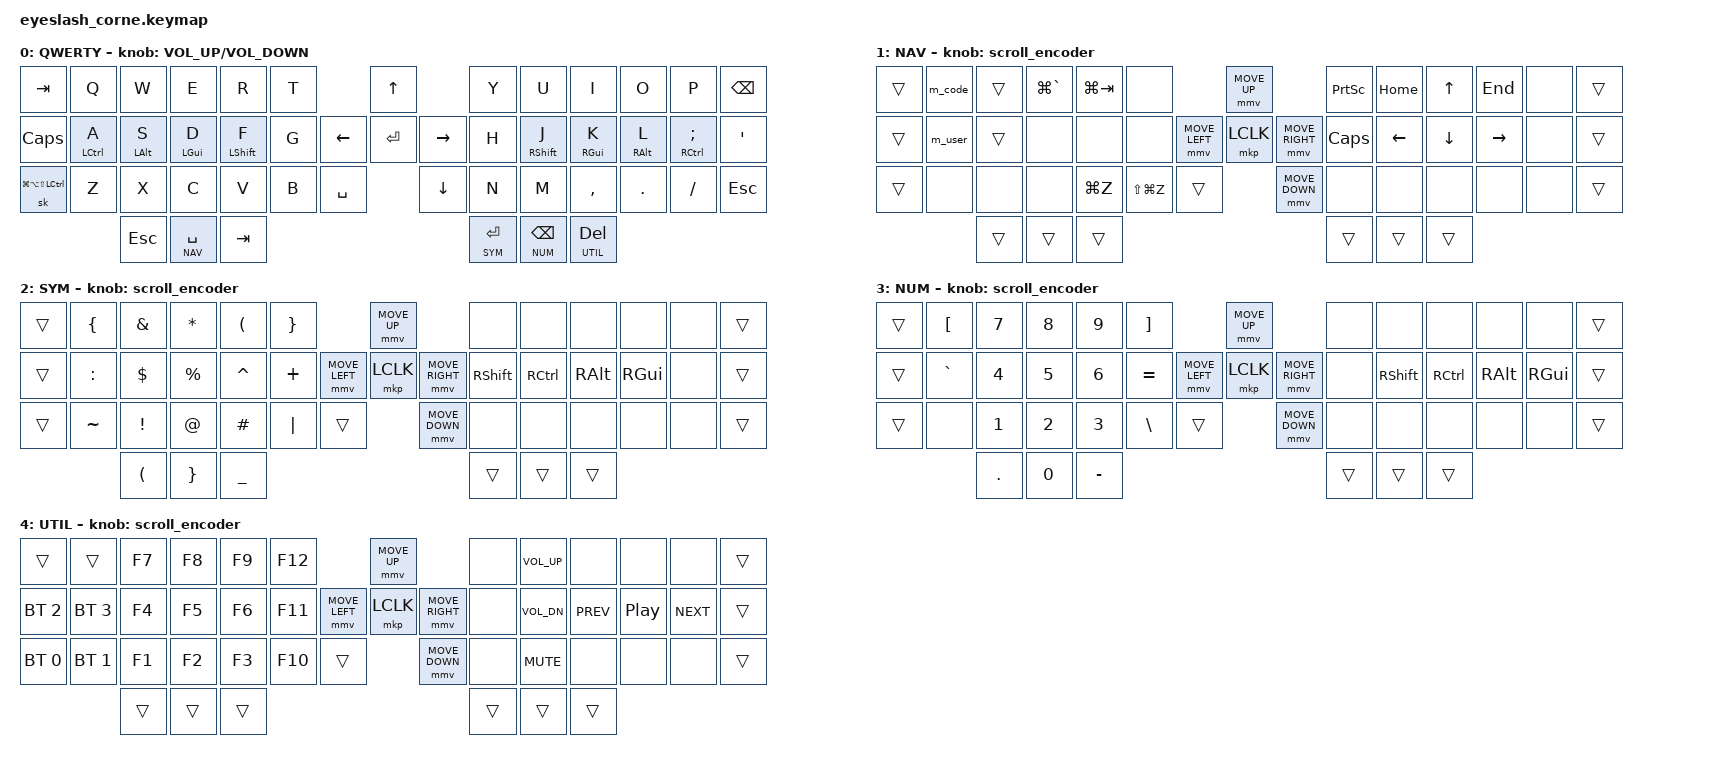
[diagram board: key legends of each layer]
#define ZMK_POINTING_DEFAULT_MOVE_VAL 1200  // 600
#define ZMK_POINTING_DEFAULT_SCRL_VAL 25   // 10

#include <input/processors.dtsi>
#include <zephyr/dt-bindings/input/input-event-codes.h>
#include <behaviors.dtsi>
#include <dt-bindings/zmk/bt.h>
#include <dt-bindings/zmk/ext_power.h>
#include <dt-bindings/zmk/keys.h>
#include <dt-bindings/zmk/pointing.h>
#include <dt-bindings/zmk/outputs.h>
#include <dt-bindings/zmk/rgb.h>

&mmv_input_listener { input-processors = <&zip_xy_scaler 2 1>; };
&msc_input_listener { input-processors = <&zip_scroll_scaler 2 1>; };

&msc {
    acceleration-exponent = <1>;      // 0
    time-to-max-speed-ms = <100>;       // 300
    delay-ms = <0>;                   // 0
};

&mmv {
    time-to-max-speed-ms = <500>;
    acceleration-exponent = <1>;
    trigger-period-ms = <16>;
};

// Layer Definitions
#define QWERTY 0
#define NAV    1
#define SYM    2
#define NUM    3
#define UTIL   4

/ {
    macros {
        m_user: m_user {
            compatible = "zmk,behavior-macro";
            #binding-cells = <0>;
            display-name = "User001";
            bindings = <&kp LS(U) &kp S &kp U &kp A &kp R &kp I &kp O &kp N0 &kp N0 &kp N1 &kp DOT>;
        };
        // Macro SS: Cmd+Shift+Ctrl+4
        m_ss: m_ss {
            compatible = "zmk,behavior-macro";
            #binding-cells = <0>;
            bindings = <&kp LG(LS(LC(N4)))>;
        };

        m_code: m_code {
            compatible = "zmk,behavior-macro";
            #binding-cells = <0>;
            display-name = "Code Block";
            bindings = <&kp GRAVE &kp GRAVE &kp GRAVE &kp LS(RET) &kp LS(RET) &kp GRAVE &kp GRAVE &kp GRAVE &kp UP>;
        };
    };

    behaviors {
        hm: homerow_mods {
            compatible = "zmk,behavior-hold-tap";
            label = "HOMEROW_MODS";
            #binding-cells = <2>;
            tapping-term-ms = <200>;
            quick-tap-ms = <0>;
            flavor = "tap-preferred";
            bindings = <&kp>, <&kp>;
        };
    };

    combos {
        compatible = "zmk,combos";

        // --- Left Hand Vertical ---
        // Top-Home
        combo_at     { timeout-ms = <50>; key-positions = <2 15>; bindings = <&kp AT>; };    // W S
        combo_hash   { timeout-ms = <50>; key-positions = <3 16>; bindings = <&kp HASH>; };  // E D
        combo_dollar { timeout-ms = <50>; key-positions = <4 17>; bindings = <&kp DLLR>; };  // R F
        combo_perc   { timeout-ms = <50>; key-positions = <5 18>; bindings = <&kp PRCNT>; }; // T G

        // Home-Bottom
        combo_grave  { timeout-ms = <50>; key-positions = <15 30>; bindings = <&kp GRAVE>; }; // S X
        combo_bsls   { timeout-ms = <50>; key-positions = <16 31>; bindings = <&kp BSLH>; };  // D C
        combo_eql    { timeout-ms = <50>; key-positions = <17 32>; bindings = <&kp EQUAL>; }; // F V
        combo_tilde  { timeout-ms = <50>; key-positions = <18 33>; bindings = <&kp TILDE>; }; // G B

        // Horizontal Left
        combo_esc    { timeout-ms = <50>; key-positions = <15 17>; bindings = <&kp ESC>; };        // S F
        combo_copy   { timeout-ms = <50>; key-positions = <30 31>; bindings = <&kp LG(C)>; };      // X C (Cmd+C)
        combo_paste  { timeout-ms = <50>; key-positions = <31 32>; bindings = <&kp LG(V)>; };      // C V (Cmd+V)
        combo_cut    { timeout-ms = <50>; key-positions = <30 32>; bindings = <&kp LG(X)>; };      // X V (Cmd+X)
        combo_zx     { timeout-ms = <50>; key-positions = <29 30>;    bindings = <&kp LG(Z)>; };      // Z X (Cmd+Z)
        combo_xcv    { timeout-ms = <50>; key-positions = <30 31 32>; bindings = <&kp LG(LA(V))>; }; // X C V (Opt+Cmd+V)

        // --- Right Hand Vertical ---
        // Top-Home
        combo_caret  { timeout-ms = <50>; key-positions = <7 22>; bindings = <&kp CARET>; };  // Y H
        combo_plus   { timeout-ms = <50>; key-positions = <8 23>; bindings = <&kp PLUS>; };   // U J
        combo_star   { timeout-ms = <50>; key-positions = <9 24>; bindings = <&kp ASTRK>; };  // I K
        combo_amp    { timeout-ms = <50>; key-positions = <10 25>; bindings = <&kp AMPS>; };  // O L

        // Home-Bottom
        combo_unds   { timeout-ms = <50>; key-positions = <22 36>; bindings = <&kp UNDER>; }; // H N
        combo_mins   { timeout-ms = <50>; key-positions = <23 37>; bindings = <&kp MINUS>; }; // J M
        combo_slsh   { timeout-ms = <50>; key-positions = <24 38>; bindings = <&kp FSLH>; };  // K ,
        combo_pipe   { timeout-ms = <50>; key-positions = <25 39>; bindings = <&kp PIPE>; };  // L .

        // Horizontal Right (Brackets)
        combo_lsqr   { timeout-ms = <50>; key-positions = <8 9>;   bindings = <&kp LBKT>; };  // U I
        combo_rsqr   { timeout-ms = <50>; key-positions = <9 10>;  bindings = <&kp RBKT>; };  // I O
        combo_lpar   { timeout-ms = <50>; key-positions = <23 24>; bindings = <&kp LPAR>; };  // J K
        combo_rpar   { timeout-ms = <50>; key-positions = <24 25>; bindings = <&kp RPAR>; };  // K L
        combo_lcbr   { timeout-ms = <50>; key-positions = <37 38>; bindings = <&kp LBRC>; };  // M ,
        combo_rcbr   { timeout-ms = <50>; key-positions = <38 39>; bindings = <&kp RBRC>; };  // , .

        // Mixed / Other
        combo_lt     { timeout-ms = <50>; key-positions = <22 23>; bindings = <&kp LT>; };    // H J
        combo_gt     { timeout-ms = <50>; key-positions = <25 15>; bindings = <&kp GT>; };    // L S
        combo_exlm   { timeout-ms = <50>; key-positions = <1 14>;  bindings = <&kp EXCL>; };  // Q A
        combo_ss     { timeout-ms = <50>; key-positions = <11 26>; bindings = <&m_ss>; };     // P ;
    };

    rgb_encoder: rgb_encoder {
        compatible = "zmk,behavior-sensor-rotate";
        #sensor-binding-cells = <0>;
        bindings = <&rgb_ug RGB_BRI>, <&rgb_ug RGB_BRD>;
    };

    scroll_encoder: scroll_encoder {
        compatible = "zmk,behavior-sensor-rotate";
        #sensor-binding-cells = <0>;
        bindings = <&msc SCRL_DOWN>, <&msc SCRL_UP>;
        tap-ms = <100>;
    };

    keymap {
        compatible = "zmk,keymap";

        // Layer 0: QWERTY (Base)
        default_layer {
            display-name = "QWERTY";
            bindings = <
&kp TAB                 &kp Q        &kp W        &kp E             &kp R         &kp T                              &kp UP                &kp Y        &kp U        &kp I        &kp O        &kp P         &kp BSPC
&kp CAPS                &hm LCTRL A  &hm LALT S   &hm LGUI D        &hm LSHIFT F  &kp G                    &kp LEFT  &kp ENTER  &kp RIGHT  &kp H        &hm RSHIFT J &hm RGUI K   &hm RALT L   &hm RCTRL SEMI &kp SQT
&sk LG(LA(LS(LCTRL)))   &kp Z        &kp X        &kp C             &kp V         &kp B       &kp SPACE              &kp DOWN              &kp N        &kp M        &kp COMMA    &kp DOT      &kp FSLH      &kp ESC
                                     &kp ESC      &lt NAV SPACE     &kp TAB                                                                &lt SYM RET  &lt NUM BSPC &lt UTIL DEL
            >;
            sensor-bindings = <&inc_dec_kp C_VOLUME_UP C_VOLUME_DOWN>;
        };

        // Layer 1: NAV
        nav_layer {
            display-name = "NAV";
            bindings = <
&trans  &m_code      &trans       &kp LG(GRAVE) &kp LG(TAB)   &none                                      &mmv MOVE_UP           &kp PSCRN       &kp HOME     &kp UP       &kp END       &none         &trans
&trans  &m_user      &trans       &none         &none         &none                             &mmv MOVE_LEFT  &mkp LCLK       &mmv MOVE_RIGHT &kp CAPS     &kp LEFT     &kp DOWN      &kp RIGHT     &none     &trans
&trans  &none        &none        &none         &kp LG(Z)     &kp LS(LG(Z))    &trans                 &mmv MOVE_DOWN            &none           &none        &none        &none         &none         &trans
                                  &trans        &trans        &trans                                                            &trans          &trans       &trans
            >;
            sensor-bindings = <&scroll_encoder>;
        };

        // Layer 2: SYM
        sym_layer {
            display-name = "SYM";
            bindings = <
&trans  &kp LBRC     &kp AMPS     &kp ASTRK     &kp LPAR      &kp RBRC                                   &mmv MOVE_UP           &none            &none        &none        &none         &none     &trans
&trans  &kp COLON    &kp DLLR     &kp PRCNT     &kp CARET     &kp PLUS                          &mmv MOVE_LEFT  &mkp LCLK       &mmv MOVE_RIGHT  &kp RSHIFT   &kp RCTRL    &kp RALT      &kp RGUI  &none     &trans
&trans  &kp TILDE    &kp EXCL     &kp AT        &kp HASH      &kp PIPE         &trans                 &mmv MOVE_DOWN            &none            &none        &none        &none         &none     &trans
                                  &kp LPAR      &kp RBRC      &kp UNDER                                                         &trans           &trans       &trans
            >;
            sensor-bindings = <&scroll_encoder>;
        };

        // Layer 3: NUM
        num_layer {
            display-name = "NUM";
            bindings = <
&trans  &kp LBKT     &kp N7       &kp N8        &kp N9        &kp RBKT                                   &mmv MOVE_UP                               &none            &none        &none        &none         &none     &trans
&trans  &kp GRAVE    &kp N4       &kp N5        &kp N6        &kp EQUAL                         &mmv MOVE_LEFT  &mkp LCLK       &mmv MOVE_RIGHT     &none            &kp RSHIFT   &kp RCTRL    &kp RALT      &kp RGUI  &trans
&trans  &none        &kp N1       &kp N2        &kp N3        &kp BSLH         &trans                 &mmv MOVE_DOWN                                &none            &none        &none        &none         &none     &trans
                                  &kp DOT       &kp N0        &kp MINUS                                                                             &trans           &trans       &trans
            >;
            sensor-bindings = <&scroll_encoder>;
        };

        // Layer 4: UTIL
        util_layer {
            display-name = "UTIL";
            bindings = <
&trans        &trans        &kp F7       &kp F8        &kp F9        &kp F12                                      &mmv MOVE_UP                                         &none           &kp C_VOL_UP &none        &none        &none        &trans
&bt BT_SEL 2  &bt BT_SEL 3  &kp F4       &kp F5        &kp F6        &kp F11                             &mmv MOVE_LEFT  &mkp LCLK             &mmv MOVE_RIGHT         &none           &kp C_VOL_DN &kp C_PREV   &kp C_PP     &kp C_NEXT   &trans
&bt BT_SEL 0  &bt BT_SEL 1  &kp F1       &kp F2        &kp F3        &kp F10            &trans                 &mmv MOVE_DOWN                                          &none           &kp C_MUTE   &none        &none        &none        &trans
                                  &trans        &trans        &trans                                                                                                   &trans          &trans       &trans
            >;
            sensor-bindings = <&scroll_encoder>;
        };
    };
};
